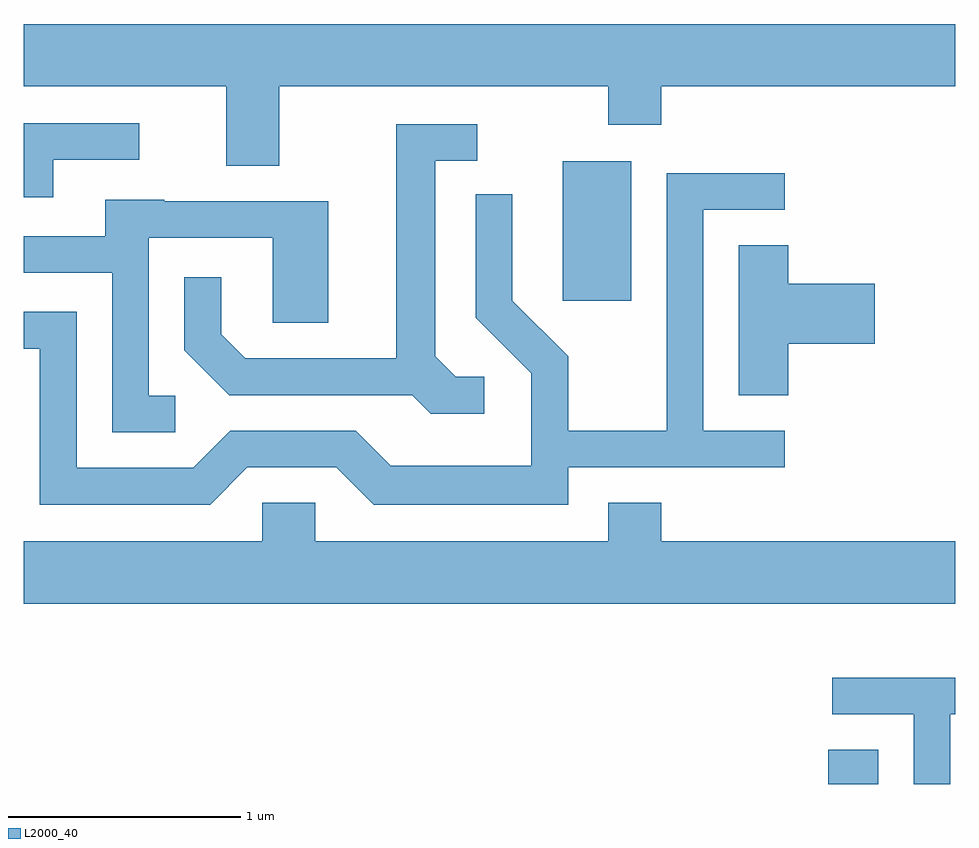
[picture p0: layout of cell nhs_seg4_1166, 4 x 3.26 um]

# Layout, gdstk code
import gdstk
lib = gdstk.Library(unit=1e-6, precision=1e-09)
def R(c, l, rs):  # rectangles x0, y0, x1, y1
    for r in rs: c.add(gdstk.rectangle(r[:2], r[2:], *l))
def P(c, l, *ps):  # polygons
    for p in ps: c.add(gdstk.Polygon(p, *l))
L2000_40 = (2000, 40)

nhs_seg4_1166 = lib.new_cell('nhs_seg4_1166')
R(nhs_seg4_1166, L2000_40, [(223.066,1273.982,223.279,1274.129), (221.926,1276.056,222.219,1276.654)])
P(nhs_seg4_1166, L2000_40, [(220.709,1276.976),(222.121,1276.976),(222.121,1276.811),(222.349,1276.811),(222.349,1276.976),(223.611,1276.976),(223.611,1277.244),(219.611,1277.244),(219.611,1276.976),(220.481,1276.976),(220.481,1276.636),(220.709,1276.636)],
  [(219.739,1276.661),(220.108,1276.661),(220.108,1276.819),(219.611,1276.819),(219.611,1276.501),(219.739,1276.501)],
  [(221.588,1275.729),(221.467,1275.729),(221.379,1275.817),(221.379,1276.656),(221.558,1276.656),(221.558,1276.814),(221.211,1276.814),(221.211,1275.809),(220.562,1275.809),(220.459,1275.912),(220.459,1276.158),(220.301,1276.158),(220.301,1275.844),(220.494,1275.651),(221.279,1275.651),(221.359,1275.571),(221.588,1275.571)],
  [(220.572,1275.341),(220.954,1275.341),(221.114,1275.181),(221.949,1275.181),(221.949,1275.341),(222.878,1275.341),(222.878,1275.499),(222.529,1275.499),(222.529,1276.446),(222.878,1276.446),(222.878,1276.604),(222.371,1276.604),(222.371,1275.499),(221.949,1275.499),(221.949,1275.817),(221.709,1276.057),(221.709,1276.513),(221.551,1276.513),(221.551,1275.984),(221.791,1275.744),(221.791,1275.349),(221.187,1275.349),(221.037,1275.499),(220.499,1275.499),(220.339,1275.339),(219.839,1275.339),(219.839,1276.009),(219.611,1276.009),(219.611,1275.851),(219.681,1275.851),(219.681,1275.181),(220.412,1275.181)],
  [(220.263,1275.649),(220.149,1275.649),(220.149,1276.326),(220.681,1276.326),(220.681,1275.961),(220.919,1275.961),(220.919,1276.484),(220.215,1276.484),(220.215,1276.489),(219.961,1276.489),(219.961,1276.334),(219.611,1276.334),(219.611,1276.176),(219.991,1276.176),(219.991,1275.491),(220.263,1275.491)],
  [(222.894,1275.871),(223.264,1275.871),(223.264,1276.129),(222.894,1276.129),(222.894,1276.294),(222.681,1276.294),(222.681,1275.651),(222.894,1275.651)],
  [(222.121,1275.189),(222.121,1275.024),(220.864,1275.024),(220.864,1275.189),(220.636,1275.189),(220.636,1275.024),(219.611,1275.024),(219.611,1274.756),(223.611,1274.756),(223.611,1275.024),(222.349,1275.024),(222.349,1275.189)],
  [(223.589,1274.281),(223.611,1274.281),(223.611,1274.439),(223.083,1274.439),(223.083,1274.281),(223.431,1274.281),(223.431,1273.982),(223.589,1273.982)])

lib.write_gds('nhs_seg4_1166.gds')
